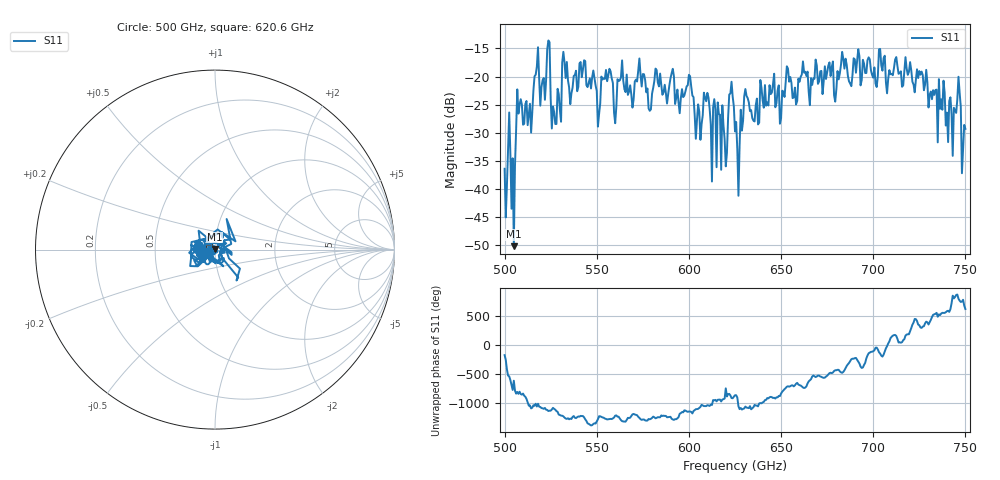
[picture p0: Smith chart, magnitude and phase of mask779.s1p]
!Created with skrf (http://scikit-rf.org).
# GHz S MA R 50.0
!freq magS11 angS11
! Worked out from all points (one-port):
!   401 points, 500 GHz to 750 GHz, reference 50 ohm
!   lowest |S11| = -50.2 dB at 505 GHz (marker M1), VSWR 1.01, Z = 49.9 + j0.3 ohm
!   |S11| at or under -10 dB: start of sweep to end of sweep
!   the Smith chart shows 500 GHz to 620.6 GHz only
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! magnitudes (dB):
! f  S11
! 500 GHz  -36.4
! 503.1 GHz  -33.7
! 505 GHz  -50.2
! 508.1 GHz  -25.0
! 513.8 GHz  -24.8
! 516.9 GHz  -19.7
! 520.6 GHz  -20.6
! 523.8 GHz  -13.6
! 526.9 GHz  -26.3
! 531.2 GHz  -17.5
! 542.5 GHz  -18.7
! 550.6 GHz  -28.9
! 562.5 GHz  -20.7
! 593.8 GHz  -22.3
! 600 GHz  -19.7
! 605 GHz  -24.9
! 609.4 GHz  -24.4
! 618.8 GHz  -28.7
! 623.1 GHz  -20.9
! 625 GHz  -29.8
! 626.2 GHz  -32.9
! 631.2 GHz  -23.4
! 656.2 GHz  -23.8
! 687.5 GHz  -21.2
! 718.8 GHz  -19.7
! 741.9 GHz  -23.7
! 746.2 GHz  -20.0
! 750 GHz  -29.3
